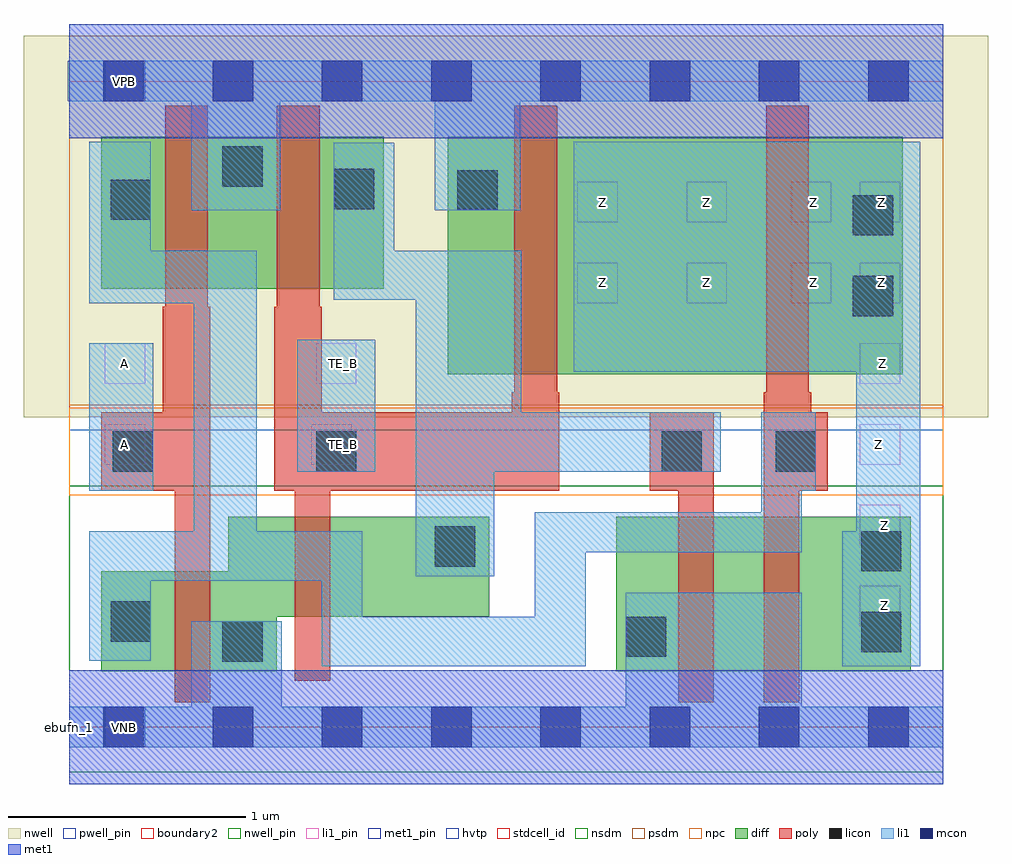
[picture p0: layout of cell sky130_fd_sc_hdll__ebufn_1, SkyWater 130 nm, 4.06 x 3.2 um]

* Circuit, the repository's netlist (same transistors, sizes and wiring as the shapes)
* Copyright 2020 The SkyWater PDK Authors
*
* Licensed under the Apache License, Version 2.0 (the "License");
* you may not use this file except in compliance with the License.
* You may obtain a copy of the License at
*
*     https://www.apache.org/licenses/LICENSE-2.0
*
* Unless required by applicable law or agreed to in writing, software
* distributed under the License is distributed on an "AS IS" BASIS,
* WITHOUT WARRANTIES OR CONDITIONS OF ANY KIND, either express or implied.
* See the License for the specific language governing permissions and
* limitations under the License.
*
* SPDX-License-Identifier: Apache-2.0

.SUBCKT sky130_fd_sc_hdll__ebufn_1 A TE_B VGND VNB VPB VPWR Z
*.PININFO A:I TE_B:I VGND:I VNB:I VPB:I VPWR:I Z:O
MMN0 Z net35 sndA VNB sky130_fd_pr__nfet_01v8 m=1 w=0.65U l=0.15U mult=1 sa=0.265
+ sb=0.265 sd=0.28 area=0.063 perim=1.14
MMN1 sndA net39 VGND VNB sky130_fd_pr__nfet_01v8 m=1 w=0.65U l=0.15U mult=1 sa=0.265
+ sb=0.265 sd=0.28 area=0.063 perim=1.14
MMIN1 net39 TE_B VGND VNB sky130_fd_pr__nfet_01v8 m=1 w=0.42U l=0.15U mult=1 sa=0.265
+ sb=0.265 sd=0.28 area=0.063 perim=1.14
MI6 net35 A VGND VNB sky130_fd_pr__nfet_01v8 m=1 w=0.42U l=0.15U mult=1 sa=0.265
+ sb=0.265 sd=0.28 area=0.063 perim=1.14
MMP0 VPWR TE_B sndTEB VPB sky130_fd_pr__pfet_01v8_hvt m=1 w=1.0U l=0.18U mult=1
+ sa=0.265 sb=0.265 sd=0.28 area=0.063 perim=1.14
MMP1 sndTEB net35 Z VPB sky130_fd_pr__pfet_01v8_hvt m=1 w=1.0U l=0.18U mult=1 sa=0.265
+ sb=0.265 sd=0.28 area=0.063 perim=1.14
MMIP1 net39 TE_B VPWR VPB sky130_fd_pr__pfet_01v8_hvt m=1 w=0.64U l=0.18U mult=1
+ sa=0.265 sb=0.265 sd=0.28 area=0.063 perim=1.14
MI5 net35 A VPWR VPB sky130_fd_pr__pfet_01v8_hvt m=1 w=0.64U l=0.18U mult=1 sa=0.265
+ sb=0.265 sd=0.28 area=0.063 perim=1.14
.ENDS sky130_fd_sc_hdll__ebufn_1

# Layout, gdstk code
import gdstk
lib = gdstk.Library(unit=1e-6, precision=1e-09)
def R(c, l, rs):  # rectangles x0, y0, x1, y1
    for r in rs: c.add(gdstk.rectangle(r[:2], r[2:], *l))
def A(c, l, x, y, w, h, nx, ny, dx, dy):  # array of equal rectangles
    R(c, l, [(x+i*dx, y+j*dy, x+i*dx+w, y+j*dy+h) for i in range(nx) for j in range(ny)])
def P(c, l, *ps):  # polygons
    for p in ps: c.add(gdstk.Polygon(p, *l))
nwell_pin = (64, 16)
nwell = (64, 20)
diff = (65, 20)
poly = (66, 20)
licon = (66, 44)
li1_pin = (67, 16)
li1 = (67, 20)
mcon = (67, 44)
met1_pin = (68, 16)
met1 = (68, 20)
hvtp = (78, 44)
stdcell_id = (81, 4)
nsdm = (93, 44)
psdm = (94, 20)
npc = (95, 20)
pwell_pin = (122, 16)
boundary2 = (236, 0)

sky130_fd_sc_hdll__ebufn = lib.new_cell('sky130_fd_sc_hdll__ebufn_1')
R(sky130_fd_sc_hdll__ebufn, nwell_pin, [(0.15,2.635,0.32,2.805)])
R(sky130_fd_sc_hdll__ebufn, nwell, [(-0.19,1.305,3.87,2.91)])
R(sky130_fd_sc_hdll__ebufn, diff, [(2.305,0.235,3.545,0.885), (1.595,1.485,3.51,2.485), (0.135,1.845,1.325,2.485)])
P(sky130_fd_sc_hdll__ebufn, diff, [(1.77,0.885),(0.67,0.885),(0.67,0.655),(0.135,0.655),(0.135,0.235),(0.875,0.235),(0.875,0.465),(1.77,0.465)])
P(sky130_fd_sc_hdll__ebufn, poly, [(0.595,1.77),(0.585,1.77),(0.585,2.615),(0.405,2.615),(0.405,1.77),(0.395,1.77),(0.395,1.325),(0.135,1.325),(0.135,0.995),(0.445,0.995),(0.445,0.105),(0.595,0.105)],
  [(2.065,1.41),(2.055,1.41),(2.055,2.615),(1.875,2.615),(1.875,1.41),(1.865,1.41),(1.865,1.325),(1.065,1.325),(1.065,1.77),(1.055,1.77),(1.055,2.615),(0.875,2.615),(0.875,1.77),(0.865,1.77),(0.865,0.995),(0.95,0.995),(0.95,0.195),(1.1,0.195),(1.1,0.995),(2.065,0.995)],
  [(2.715,1.325),(2.445,1.325),(2.445,0.995),(2.565,0.995),(2.565,0.105),(2.715,0.105)],
  [(3.195,1.325),(3.125,1.325),(3.125,1.41),(3.115,1.41),(3.115,2.615),(2.935,2.615),(2.935,1.41),(2.925,1.41),(2.925,0.105),(3.075,0.105),(3.075,0.995),(3.195,0.995)])
R(sky130_fd_sc_hdll__ebufn, licon, [(0.645,0.275,0.815,0.445), (2.345,0.295,2.515,0.465), (3.335,0.315,3.505,0.485), (0.175,0.36,0.345,0.53), (3.335,0.655,3.505,0.825), (1.54,0.675,1.71,0.845), (0.185,1.075,0.355,1.245), (1.04,1.075,1.21,1.245), (2.495,1.075,2.665,1.245), (2.975,1.075,3.145,1.245), (3.3,1.73,3.47,1.9), (3.3,2.07,3.47,2.24), (0.175,2.135,0.345,2.305), (1.635,2.175,1.805,2.345), (1.115,2.18,1.285,2.35), (0.645,2.275,0.815,2.445)])
A(sky130_fd_sc_hdll__ebufn, li1_pin, 3.33, 0.425, 0.17, 0.17, 1, 6, 0, 0.34)
R(sky130_fd_sc_hdll__ebufn, li1_pin, [(0.15,1.105,0.32,1.275), (1.02,1.105,1.19,1.275), (0.15,1.445,0.32,1.615), (1.04,1.445,1.21,1.615), (2.14,1.785,2.31,1.955), (2.6,1.785,2.77,1.955), (3.04,1.785,3.21,1.955), (2.14,2.125,2.31,2.295), (2.6,2.125,2.77,2.295), (3.04,2.125,3.21,2.295)])
R(sky130_fd_sc_hdll__ebufn, li1, [(0.085,0.995,0.355,1.615), (0.96,1.075,1.29,1.63)])
P(sky130_fd_sc_hdll__ebufn, li1, [(3.585,2.465),(2.125,2.465),(2.125,1.495),(3.315,1.495),(3.315,0.825),(3.255,0.825),(3.255,0.255),(3.585,0.255)],
  [(3.68,2.805),(-0.005,2.805),(-0.005,2.635),(0.515,2.635),(0.515,2.175),(0.89,2.175),(0.89,2.635),(1.54,2.635),(1.54,2.175),(1.9,2.175),(1.9,2.635),(3.68,2.635)],
  [(3.68,0.085),(3.085,0.085),(3.085,0.565),(2.345,0.565),(2.345,0.085),(0.895,0.085),(0.895,0.445),(0.515,0.445),(0.515,0.085),(0,0.085),(0,-0.085),(3.68,-0.085)],
  [(2.745,1.325),(1.905,1.325),(1.905,2.005),(1.37,2.005),(1.37,2.46),(1.115,2.46),(1.115,1.8),(1.46,1.8),(1.46,0.635),(1.79,0.635),(1.79,1.075),(2.745,1.075)],
  [(3.145,1.325),(2.915,1.325),(2.915,0.905),(1.96,0.905),(1.96,0.465),(1.235,0.465),(1.235,0.825),(0.79,0.825),(0.79,2.005),(0.345,2.005),(0.345,2.465),(0.085,2.465),(0.085,1.785),(0.525,1.785),(0.525,0.825),(0.085,0.825),(0.085,0.28),(0.345,0.28),(0.345,0.615),(1.065,0.615),(1.065,0.255),(2.175,0.255),(2.175,0.735),(3.085,0.735),(3.085,0.995),(3.145,0.995)])
A(sky130_fd_sc_hdll__ebufn, mcon, 0.145, -0.085, 0.17, 0.17, 8, 2, 0.46, 2.72)
R(sky130_fd_sc_hdll__ebufn, met1_pin, [(0.15,-0.085,0.32,0.085), (0.15,2.635,0.32,2.805)])
R(sky130_fd_sc_hdll__ebufn, met1, [(0,-0.24,3.68,0.24), (0,2.48,3.68,2.96)])
R(sky130_fd_sc_hdll__ebufn, hvtp, [(0,1.25,3.68,2.72)])
R(sky130_fd_sc_hdll__ebufn, stdcell_id, [(0,0,3.68,2.72), (0,0,3.68,2.72)])
R(sky130_fd_sc_hdll__ebufn, nsdm, [(0,-0.19,3.68,1.015)])
R(sky130_fd_sc_hdll__ebufn, psdm, [(0,1.355,3.68,2.91)])
R(sky130_fd_sc_hdll__ebufn, npc, [(0,0.975,3.68,1.345)])
R(sky130_fd_sc_hdll__ebufn, pwell_pin, [(0.15,-0.085,0.32,0.085)])
R(sky130_fd_sc_hdll__ebufn, boundary2, [(0,0,3.68,2.72)])
sky130_fd_sc_hdll__ebufn.add(gdstk.Label('ebufn_1', (0,0), layer=83, texttype=44))
sky130_fd_sc_hdll__ebufn.add(gdstk.Label('Z', (3.135,1.87), layer=67, texttype=5))
sky130_fd_sc_hdll__ebufn.add(gdstk.Label('Z', (3.135,2.21), layer=67, texttype=5))
sky130_fd_sc_hdll__ebufn.add(gdstk.Label('Z', (3.42,2.21), layer=67, texttype=5))
sky130_fd_sc_hdll__ebufn.add(gdstk.Label('Z', (3.42,1.87), layer=67, texttype=5))
sky130_fd_sc_hdll__ebufn.add(gdstk.Label('Z', (3.425,1.53), layer=67, texttype=5))
sky130_fd_sc_hdll__ebufn.add(gdstk.Label('Z', (3.41,1.19), layer=67, texttype=5))
sky130_fd_sc_hdll__ebufn.add(gdstk.Label('TE_B', (1.155,1.19), layer=67, texttype=5))
sky130_fd_sc_hdll__ebufn.add(gdstk.Label('TE_B', (1.155,1.53), layer=67, texttype=5))
sky130_fd_sc_hdll__ebufn.add(gdstk.Label('A', (0.235,1.53), layer=67, texttype=5))
sky130_fd_sc_hdll__ebufn.add(gdstk.Label('A', (0.235,1.19), layer=67, texttype=5))
sky130_fd_sc_hdll__ebufn.add(gdstk.Label('Z', (2.685,1.87), layer=67, texttype=5))
sky130_fd_sc_hdll__ebufn.add(gdstk.Label('Z', (3.435,0.51), layer=67, texttype=5))
sky130_fd_sc_hdll__ebufn.add(gdstk.Label('Z', (3.435,0.85), layer=67, texttype=5))
sky130_fd_sc_hdll__ebufn.add(gdstk.Label('Z', (2.685,2.21), layer=67, texttype=5))
sky130_fd_sc_hdll__ebufn.add(gdstk.Label('Z', (2.245,2.21), layer=67, texttype=5))
sky130_fd_sc_hdll__ebufn.add(gdstk.Label('Z', (2.245,1.87), layer=67, texttype=5))
sky130_fd_sc_hdll__ebufn.add(gdstk.Label('VNB', (0.235,0), layer=64, texttype=59))
sky130_fd_sc_hdll__ebufn.add(gdstk.Label('VPB', (0.235,2.72), layer=64, texttype=5))
sky130_fd_sc_hdll__ebufn.add(gdstk.Label('VPWR', (0.23,2.72), layer=68, texttype=5))
sky130_fd_sc_hdll__ebufn.add(gdstk.Label('VGND', (0.23,0), layer=68, texttype=5))

lib.write_gds('sky130_fd_sc_hdll__ebufn_1.gds')
